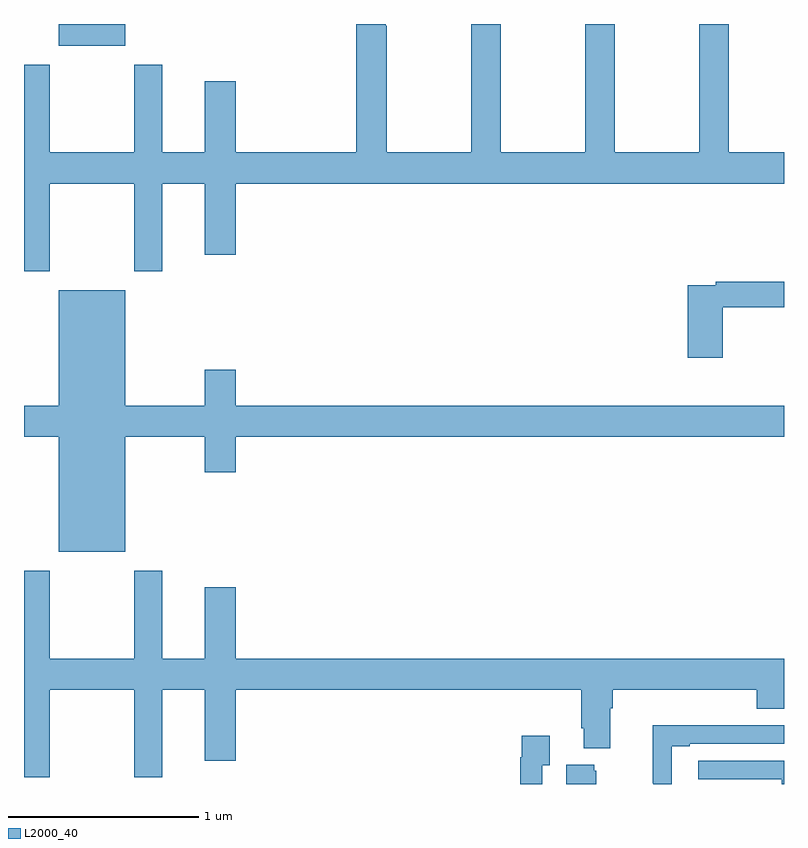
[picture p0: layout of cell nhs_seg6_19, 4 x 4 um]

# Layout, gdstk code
import gdstk
lib = gdstk.Library(unit=1e-6, precision=1e-09)
def R(c, l, rs):  # rectangles x0, y0, x1, y1
    for r in rs: c.add(gdstk.rectangle(r[:2], r[2:], *l))
def P(c, l, *ps):  # polygons
    for p in ps: c.add(gdstk.Polygon(p, *l))
L2000_40 = (2000, 40)

nhs_seg6_19 = lib.new_cell('nhs_seg6_19')
R(nhs_seg6_19, L2000_40, [(111.182,957.386,111.532,957.5)])
P(nhs_seg6_19, L2000_40, [(111.135,956.66),(111.58,956.66),(111.58,956.199),(111.727,956.199),(111.727,956.66),(111.95,956.66),(111.95,956.286),(112.114,956.286),(112.114,956.66),(115,956.66),(115,956.824),(114.708,956.824),(114.708,957.5),(114.553,957.5),(114.553,956.824),(114.108,956.824),(114.108,957.5),(113.953,957.5),(113.953,956.824),(113.508,956.824),(113.508,957.5),(113.353,957.5),(113.353,956.824),(112.908,956.824),(112.908,957.491),(112.903,957.491),(112.903,957.5),(112.748,957.5),(112.748,956.824),(112.114,956.824),(112.114,957.199),(111.95,957.199),(111.95,956.824),(111.727,956.824),(111.727,957.286),(111.58,957.286),(111.58,956.824),(111.135,956.824),(111.135,957.286),(111,957.286),(111,956.199),(111.135,956.199)],
  [(114.677,956.008),(115,956.008),(115,956.144),(114.64,956.144),(114.64,956.124),(114.494,956.124),(114.494,955.743),(114.677,955.743)],
  [(111.532,955.328),(111.95,955.328),(111.95,955.14),(112.114,955.14),(112.114,955.328),(115,955.328),(115,955.492),(112.114,955.492),(112.114,955.681),(111.95,955.681),(111.95,955.492),(111.532,955.492),(111.532,956.098),(111.182,956.098),(111.182,955.492),(111,955.492),(111,955.328),(111.182,955.328),(111.182,954.722),(111.532,954.722)],
  [(111.135,953.996),(111.58,953.996),(111.58,953.535),(111.727,953.535),(111.727,953.996),(111.95,953.996),(111.95,953.622),(112.114,953.622),(112.114,953.996),(113.933,953.996),(113.933,953.794),(113.945,953.794),(113.945,953.687),(114.085,953.687),(114.085,953.9),(114.098,953.9),(114.098,953.996),(114.857,953.996),(114.857,953.897),(115,953.897),(115,954.16),(112.114,954.16),(112.114,954.535),(111.95,954.535),(111.95,954.16),(111.727,954.16),(111.727,954.622),(111.58,954.622),(111.58,954.16),(111.135,954.16),(111.135,954.622),(111,954.622),(111,953.535),(111.135,953.535)],
  [(114.408,953.7),(114.505,953.7),(114.505,953.712),(115,953.712),(115,953.808),(114.773,953.808),(114.773,953.81),(114.31,953.81),(114.31,953.503),(114.312,953.503),(114.312,953.5),(114.408,953.5)],
  [(113.727,953.599),(113.767,953.599),(113.767,953.755),(113.619,953.755),(113.619,953.642),(113.611,953.642),(113.611,953.5),(113.727,953.5)],
  [(115,953.622),(114.549,953.622),(114.549,953.526),(114.987,953.526),(114.987,953.5),(115,953.5)],
  [(114.013,953.571),(114.002,953.571),(114.002,953.602),(113.855,953.602),(113.855,953.5),(114.013,953.5)])

lib.write_gds('nhs_seg6_19.gds')
